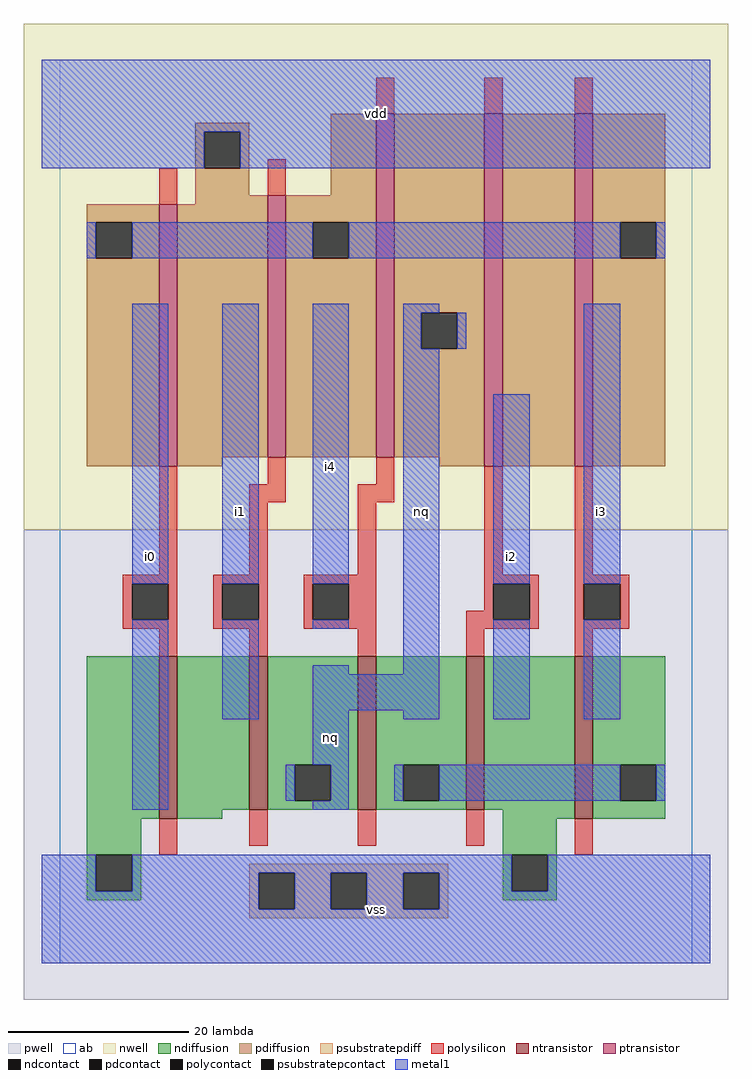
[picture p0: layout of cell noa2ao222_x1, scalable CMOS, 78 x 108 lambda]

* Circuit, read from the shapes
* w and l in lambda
.subckt noa2ao222_x1 i0 i1 i2 i3 i4 nq vdd vss
M1 n1 i0 vss vss nfet w=18 l=2
M2 nq i1 n1 vss nfet w=17 l=2
M3 n2 i4 nq vss nfet w=17 l=2
M4 vss i2 n2 vss nfet w=17 l=2
M5 n2 i3 vss vss nfet w=18 l=2
M6 vdd i0 n3 n4 pfet w=29 l=2
M7 n3 i1 vdd n4 pfet w=29 l=2
M8 nq i4 n3 n4 pfet w=38 l=2
M9 n5 i2 nq n4 pfet w=39 l=2
M10 n3 i3 n5 n4 pfet w=39 l=2
.ends

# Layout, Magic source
magic
tech scmos
<< ab >>
rect 0 0 70 100
<< pwell >>
rect -4 -4 74 48
<< nwell >>
rect -4 48 74 104
<< polysilicon >>
rect 35 94 37 98
rect 47 94 49 98
rect 57 94 59 98
rect 11 84 13 88
rect 23 85 25 89
rect 11 43 13 55
rect 23 53 25 56
rect 35 53 37 56
rect 21 51 25 53
rect 33 51 37 53
rect 21 43 23 51
rect 33 43 35 51
rect 7 42 13 43
rect 7 38 8 42
rect 12 38 13 42
rect 7 37 13 38
rect 17 42 23 43
rect 17 38 18 42
rect 22 38 23 42
rect 17 37 23 38
rect 27 42 35 43
rect 27 38 28 42
rect 32 38 35 42
rect 47 43 49 55
rect 57 43 59 55
rect 47 42 53 43
rect 47 39 48 42
rect 27 37 35 38
rect 11 34 13 37
rect 21 34 23 37
rect 33 34 35 37
rect 45 38 48 39
rect 52 38 53 42
rect 45 37 53 38
rect 57 42 63 43
rect 57 38 58 42
rect 62 38 63 42
rect 57 37 63 38
rect 45 34 47 37
rect 57 34 59 37
rect 11 12 13 16
rect 21 13 23 17
rect 33 13 35 17
rect 45 13 47 17
rect 57 12 59 16
<< ndiffusion >>
rect 3 16 11 34
rect 13 17 21 34
rect 23 22 33 34
rect 23 18 26 22
rect 30 18 33 22
rect 23 17 33 18
rect 35 22 45 34
rect 35 18 38 22
rect 42 18 45 22
rect 35 17 45 18
rect 47 17 57 34
rect 13 16 18 17
rect 3 12 9 16
rect 49 16 57 17
rect 59 22 67 34
rect 59 18 62 22
rect 66 18 67 22
rect 59 16 67 18
rect 49 12 55 16
rect 3 8 4 12
rect 8 8 9 12
rect 3 7 9 8
rect 49 8 50 12
rect 54 8 55 12
rect 49 7 55 8
<< pdiffusion >>
rect 15 92 21 93
rect 15 88 16 92
rect 20 88 21 92
rect 15 85 21 88
rect 30 85 35 94
rect 15 84 23 85
rect 3 82 11 84
rect 3 78 4 82
rect 8 78 11 82
rect 3 55 11 78
rect 13 56 23 84
rect 25 82 35 85
rect 25 78 28 82
rect 32 78 35 82
rect 25 56 35 78
rect 37 72 47 94
rect 37 68 40 72
rect 44 68 47 72
rect 37 56 47 68
rect 13 55 18 56
rect 42 55 47 56
rect 49 55 57 94
rect 59 82 67 94
rect 59 78 62 82
rect 66 78 67 82
rect 59 55 67 78
<< metal1 >>
rect -2 92 72 100
rect -2 88 16 92
rect 20 88 72 92
rect 3 78 4 82
rect 8 78 28 82
rect 32 78 62 82
rect 66 78 67 82
rect 8 42 12 73
rect 8 17 12 38
rect 18 42 22 73
rect 18 27 22 38
rect 28 42 32 73
rect 28 37 32 38
rect 38 72 42 73
rect 38 68 40 72
rect 44 68 45 72
rect 28 32 32 33
rect 38 32 42 68
rect 28 28 42 32
rect 28 22 32 28
rect 38 27 42 28
rect 48 42 52 63
rect 48 27 52 38
rect 58 42 62 73
rect 58 27 62 38
rect 25 18 26 22
rect 30 18 32 22
rect 37 18 38 22
rect 42 18 62 22
rect 66 18 67 22
rect 28 17 32 18
rect -2 8 4 12
rect 8 10 50 12
rect 8 8 22 10
rect -2 6 22 8
rect 26 6 30 10
rect 34 6 38 10
rect 42 8 50 10
rect 54 8 72 12
rect 42 6 72 8
rect -2 0 72 6
<< ntransistor >>
rect 11 16 13 34
rect 21 17 23 34
rect 33 17 35 34
rect 45 17 47 34
rect 57 16 59 34
<< ptransistor >>
rect 11 55 13 84
rect 23 56 25 85
rect 35 56 37 94
rect 47 55 49 94
rect 57 55 59 94
<< polycontact >>
rect 8 38 12 42
rect 18 38 22 42
rect 28 38 32 42
rect 48 38 52 42
rect 58 38 62 42
<< ndcontact >>
rect 26 18 30 22
rect 38 18 42 22
rect 62 18 66 22
rect 4 8 8 12
rect 50 8 54 12
<< pdcontact >>
rect 16 88 20 92
rect 4 78 8 82
rect 28 78 32 82
rect 40 68 44 72
rect 62 78 66 82
<< psubstratepcontact >>
rect 22 6 26 10
rect 30 6 34 10
rect 38 6 42 10
<< psubstratepdiff >>
rect 21 10 43 11
rect 21 6 22 10
rect 26 6 30 10
rect 34 6 38 10
rect 42 6 43 10
rect 21 5 43 6
<< labels >>
rlabel metal1 10 45 10 45 6 i0
rlabel metal1 30 25 30 25 6 nq
rlabel metal1 20 50 20 50 6 i1
rlabel metal1 30 55 30 55 6 i4
rlabel metal1 35 6 35 6 6 vss
rlabel metal1 50 45 50 45 6 i2
rlabel metal1 40 50 40 50 6 nq
rlabel metal1 35 94 35 94 6 vdd
rlabel metal1 60 50 60 50 6 i3
<< end >>
